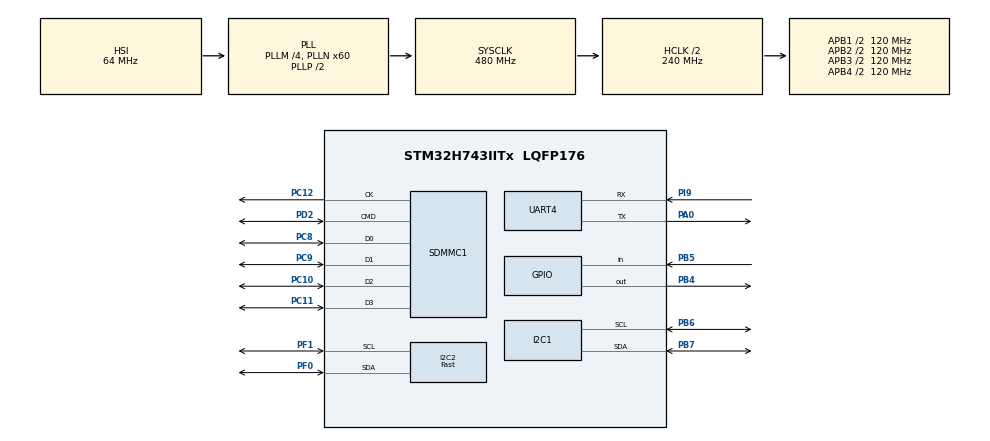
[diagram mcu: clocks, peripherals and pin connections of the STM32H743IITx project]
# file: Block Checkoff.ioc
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FATFS.BSP.number=1
FATFS0.BSP.STBoard=false
FATFS0.BSP.api=Unknown
FATFS0.BSP.i2caddr=0
FATFS0.BSP.instance=PB5
FATFS0.BSP.ip=GPIO
FATFS0.BSP.mode=Input
FATFS0.BSP.name=Detect_SDIO
FATFS0.BSP.solution=PB5
I2C1.Timing=0x307075B1
I2C2.I2C_Speed_Mode=I2C_Fast
I2C2.Timing=0x00B03FDB
JPEG.JPEG_RGB_FORMAT=JPEG_RGB888
Mcu.Family=STM32H7
Mcu.Name=STM32H743IITx
Mcu.Package=LQFP176
NVIC.PriorityGroup=NVIC_PRIORITYGROUP_4
PA0.Mode=Asynchronous
PA0.Signal=UART4_TX
PB4\ (NJTRST).Signal=GPIO_Output
PB5.Signal=GPIO_Input
PB6.Mode=I2C
PB6.Signal=I2C1_SCL
PB7.Mode=I2C
PB7.Signal=I2C1_SDA
PC10.Mode=SD_4_bits_Wide_bus
PC10.Signal=SDMMC1_D2
PC11.Mode=SD_4_bits_Wide_bus
PC11.Signal=SDMMC1_D3
PC12.Mode=SD_4_bits_Wide_bus
PC12.Signal=SDMMC1_CK
PC8.Mode=SD_4_bits_Wide_bus
PC8.Signal=SDMMC1_D0
PC9.Mode=SD_4_bits_Wide_bus
PC9.Signal=SDMMC1_D1
PD2.Mode=SD_4_bits_Wide_bus
PD2.Signal=SDMMC1_CMD
PF0.Mode=I2C
PF0.Signal=I2C2_SDA
PF1.Mode=I2C
PF1.Signal=I2C2_SCL
PI9.Mode=Asynchronous
PI9.Signal=UART4_RX
ProjectManager.HeapSize=0x200
ProjectManager.StackSize=0x400
ProjectManager.TargetToolchain=STM32CubeIDE
RCC.ADCFreq_Value=129000000
RCC.APB1Freq_Value=120000000
RCC.APB2Freq_Value=120000000
RCC.APB3Freq_Value=120000000
RCC.APB4Freq_Value=120000000
RCC.CortexFreq_Value=480000000
RCC.D1PPRE=RCC_APB3_DIV2
RCC.D2PPRE1=RCC_APB1_DIV2
RCC.D2PPRE2=RCC_APB2_DIV2
RCC.D3PPRE=RCC_APB4_DIV2
RCC.DIVM1=4
RCC.DIVN1=60
RCC.HCLKFreq_Value=240000000
RCC.HPRE=RCC_HCLK_DIV2
RCC.PLL2FRACN=0
RCC.PLL3FRACN=0
RCC.PLLFRACN=0
RCC.SYSCLKFreq_VALUE=480000000
RCC.SYSCLKSource=RCC_SYSCLKSOURCE_PLLCLK
RCC.USBFreq_Value=480000000
VP_FATFS_VS_SDIO.Mode=SDIO
VP_JPEG_VS_JPEG.Mode=JPEG_Activate
VP_LIBJPEG_VS_JPEGLIB.Mode=Enabled
board=custom

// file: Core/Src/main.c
/* USER CODE BEGIN Header */
/**
  ******************************************************************************
  * @file           : main.c
  * @brief          : Main program body
  ******************************************************************************
  * @attention
  *
  * <h2><center>&copy; Copyright (c) 2020 STMicroelectronics.
  * All rights reserved.</center></h2>
  *
  * This software component is licensed by ST under BSD 3-Clause license,
  * the "License"; You may not use this file except in compliance with the
  * License. You may obtain a copy of the License at:
  *                        opensource.org/licenses/BSD-3-Clause
  *
  ******************************************************************************
  */
/* USER CODE END Header */

#include "main.h"
#include "fatfs.h"
#include "libjpeg.h"

I2C_HandleTypeDef hi2c1;
I2C_HandleTypeDef hi2c2;

JPEG_HandleTypeDef hjpeg;

SD_HandleTypeDef hsd1;

UART_HandleTypeDef huart4;

/* USER CODE BEGIN PV */

//used for console output
FILE __stdout;

/*
 * -----------------------------CAMERA COMMAND AND ACK HEX ARRAYS---------------------------
 *
 * Below are commands commonly used for interfacing with the camera, globally defined
 * only because of their ubiquity, all commands begin with 0x56 0x00 and all ACKs or returns
 * begin with 0x76 0x00, behavior after is somewhat variable but often the first five characters
 * are relatively predictable between the two going something like...
 * 		COMMAND:	0x56 0x0 0xBB 0x1 0x0
 * 		ACK:		0x76 0x0 0xBB 0x0 0x0
 *
 * 	For some commands or acknowledgements, the listed values will NOT be what you input/receive because
 * 	they depend on values like the image length, addresses, etc. So make sure that you change those areas
 * 	before using the arrays based off of what you need!
 */

// use for camera set-up
uint8_t CAM_RESET[]							=	{0x56, 0x0, 0x26, 0x0};
uint8_t CAM_RESET_ACK[]						=	{0x76, 0x0, 0x26, 0x0};

// use for camera resolution settings
uint8_t CAM_RES_640_480[]					=	{0x56, 0x0, 0x31, 0x05, 0x04, 0x01, 0x0, 0x19, 0x00};
uint8_t CAM_RES_320_240[]					=	{0x56, 0x0, 0x31, 0x05, 0x04, 0x01, 0x0, 0x19, 0x11};
uint8_t CAM_RES_ACK[]						=	{0x76, 0x0, 0x31, 0x0, 0x0};

// use for camera to take a shot
uint8_t CAM_CAPTURE[]						=	{0x56, 0x0, 0x36, 0x1, 0x0};
uint8_t CAM_CAPTURE_ACK[]					= 	{0x76, 0x0, 0x36, 0x0, 0x0};

// use for requesting image length, NOTE: in ACK the final two bytes are not 0xFF but
// are instead the high and low bytes of the length
uint8_t CAM_IMG_LENGTH[]					=	{0x56, 0x0, 0x34, 0x1, 0x0};
uint8_t CAM_IMG_LENGTH_ACK[]				=	{0x76, 0x0, 0x34, 0x0, 0x4, 0x0, 0x0, 0xFF, 0xFF};

/*
 * use these for actually getting the image data, heavy variability here
 *
 * GENERAL JPG NOTES:	all jpgs should start with 0xFF 0xD8 0xFF (unsure still on last 0xFF) and end with 0xFF 0xD9
 *
 * NOTES FOR COMMAND:	the 0xFF 0xFF sequence is actually a start address for the image data, probably default to 0x0 0x0 for future
 * 						the 0xEE 0xEE is actually meant to be image length, pulled from the results of the previous set of commands/acks
 *
 * NOTES FOR ACKS: 		listed in two parts here, the first part is the beginning of the image data and the last part is the end and cleanup
 * 						keep in mind the jpg rules! first part ends with 0xFF 0xD8 and second part starts with 0xFF 0xD9, but these are
 * 						actually parts of the jpg and should also be written to something!
 */
uint8_t CAM_READ_IMG[]						=	{0x56, 0x0, 0x32, 0x0C, 0x0, 0x0D, 0x0, 0x0, 0xFF, 0xFF, 0x0, 0x0, 0xEE, 0xEE, 0x0, 0x0A};
uint8_t CAM_READ_IMG_ACK_1[]				=	{0x76, 0x0, 0x32, 0x0, 0x0, 0xFF, 0xD8};
uint8_t CAM_READ_IMG_ACK_2[]				=	{0xFF, 0xD9, 0x76, 0x0, 0x32, 0x0, 0x0};
/* USER CODE END PV */

void SystemClock_Config(void);
static void MX_GPIO_Init(void);
static void MX_I2C1_Init(void);
static void MX_I2C2_Init(void);
static void MX_JPEG_Init(void);
static void MX_SDMMC1_SD_Init(void);
static void MX_UART4_Init(void);

int main(void)
{

  /* MCU Configuration--------------------------------------------------------*/

  /* Reset of all peripherals, Initializes the Flash interface and the Systick. */
  HAL_Init();

  /* Configure the system clock */
  SystemClock_Config();

  /* Initialize all configured peripherals */
  MX_GPIO_Init();
  MX_I2C1_Init();
  MX_I2C2_Init();
  MX_JPEG_Init();
  MX_SDMMC1_SD_Init();
  MX_UART4_Init();
  MX_FATFS_Init();
  MX_LIBJPEG_Init();
  /* USER CODE BEGIN 2 */

  // call for initial reset state
  uint8_t set_up_ack[4];
  Camera_Setup(set_up_ack);

  //call for 320x240 resolution
  uint8_t res_ack[5];
  Camera_Set_Res(res_ack, 3);

  uint8_t prompt;
  uint8_t count = 0;
  /* USER CODE END 2 */

  /* Infinite loop */
  while (1)
  {
	  if (prompt == 0x0)
		  printf("No I2C comms detected yet.\n");

	  HAL_Delay(50);

	  prompt = 0x0;
	  HAL_I2C_Slave_Receive(&hi2c1, &prompt, 1, HAL_MAX_DELAY);

	  printf("Prompt Value: %d\n", prompt);

	  if (prompt == 0x01) {

		  /*
		   * For now, we assume that all communication works out.
		   * There is no ACK checks for now, simple one would be to
		   * check if the first element is 0x76 as all ACKs involve
		   * that.
		   */

		  count++;
		  printf("I2C comm detected, count at: %d\n", count);

		  // get TOF distance values, 7 for the 7 sensors on the board
		  uint8_t dist_vals[7];
		  get_TOF_Data(dist_vals);

		  // get compass heading for calibration, unsure of exact format
		  uint8_t hdng_cal[1];
		  get_Compass_Data(hdng_cal);

		  /*
		   * Begin process of extracting image, then processing image.
		   *
		   * Many of the below functions have what should be final code, except
		   * for the image processing functions as those are still waiting for
		   * OpenMV adapted collateral.
		   *
		   * Some ACK checks could be added to verify information, but otherwise the
		   * flow of the below code should be mostly finalized.
		   */

		  printf("Taking snapshot...\n");
		  uint8_t snapshot_ack[5];
		  Camera_Snapshot(snapshot_ack);

		  printf("Getting image length...\n");
		  uint8_t length_ack[9];
		  Camera_Get_IMG_Length(length_ack);

		  // indices 7 and 8 of the length_ack should have actual values
		  uint16_t img_length = (uint16_t) length_ack[7]*255 + (uint16_t) length_ack[8];

		  // need to set up for reading image based on length, variable due to compression
		  CAM_READ_IMG[8] = 0x0;				// indices 8 and 9 should have the mem positions
		  CAM_READ_IMG[9] = 0x0;
		  CAM_READ_IMG[12] = length_ack[7];		// indices 12 and 13 should have the high and low byte length
		  CAM_READ_IMG[13] = length_ack[8];
		  uint8_t img_buf_and_ack[9+img_length];

		  printf("Getting image...\n");
		  Camera_Get_IMG(img_buf_and_ack, length_ack[7], length_ack[8], 0x0, 0x0);

		  // create image object for easy access to parameters, copy over jpg img data
		  image_t* cam_img = malloc(sizeof(image_t));
		  cam_img->w = 320;
		  cam_img->h = 240;
		  cam_img->bpp = 3;
		  cam_img->pixels = malloc(img_length*sizeof(uint8_t));
		  for (int i = 0; i < img_length; i++)
			  cam_img->pixels[i] = img_buf_and_ack[5+i];

		  // begin image processing, store into dynamic array of objects
		  obj_t* objects;

		  uint8_t buffer[19];
		  printf("Data collection finished, sending data...");
		  strcpy(buffer, "Message received.\n");
		  HAL_I2C_Slave_Transmit(&hi2c1, buffer, sizeof(buffer)/sizeof(buffer[0]), HAL_MAX_DELAY);
	  }
  }
}

void SystemClock_Config(void)
{
  RCC_OscInitTypeDef RCC_OscInitStruct = {0};
  RCC_ClkInitTypeDef RCC_ClkInitStruct = {0};
  RCC_PeriphCLKInitTypeDef PeriphClkInitStruct = {0};

  /** Supply configuration update enable
  */
  HAL_PWREx_ConfigSupply(PWR_LDO_SUPPLY);
  /** Configure the main internal regulator output voltage
  */
  __HAL_PWR_VOLTAGESCALING_CONFIG(PWR_REGULATOR_VOLTAGE_SCALE0);

  while(!__HAL_PWR_GET_FLAG(PWR_FLAG_VOSRDY)) {}
  /** Initializes the CPU, AHB and APB busses clocks
  */
  RCC_OscInitStruct.OscillatorType = RCC_OSCILLATORTYPE_HSI;
  RCC_OscInitStruct.HSIState = RCC_HSI_DIV1;
  RCC_OscInitStruct.HSICalibrationValue = RCC_HSICALIBRATION_DEFAULT;
  RCC_OscInitStruct.PLL.PLLState = RCC_PLL_ON;
  RCC_OscInitStruct.PLL.PLLSource = RCC_PLLSOURCE_HSI;
  RCC_OscInitStruct.PLL.PLLM = 4;
  RCC_OscInitStruct.PLL.PLLN = 60;
  RCC_OscInitStruct.PLL.PLLP = 2;
  RCC_OscInitStruct.PLL.PLLQ = 2;
  RCC_OscInitStruct.PLL.PLLR = 2;
  RCC_OscInitStruct.PLL.PLLRGE = RCC_PLL1VCIRANGE_3;
  RCC_OscInitStruct.PLL.PLLVCOSEL = RCC_PLL1VCOWIDE;
  RCC_OscInitStruct.PLL.PLLFRACN = 0;
  if (HAL_RCC_OscConfig(&RCC_OscInitStruct) != HAL_OK)
  {
    Error_Handler();
  }
  /** Initializes the CPU, AHB and APB busses clocks
  */
  RCC_ClkInitStruct.ClockType = RCC_CLOCKTYPE_HCLK|RCC_CLOCKTYPE_SYSCLK
                              |RCC_CLOCKTYPE_PCLK1|RCC_CLOCKTYPE_PCLK2
                              |RCC_CLOCKTYPE_D3PCLK1|RCC_CLOCKTYPE_D1PCLK1;
  RCC_ClkInitStruct.SYSCLKSource = RCC_SYSCLKSOURCE_PLLCLK;
  RCC_ClkInitStruct.SYSCLKDivider = RCC_SYSCLK_DIV1;
  RCC_ClkInitStruct.AHBCLKDivider = RCC_HCLK_DIV2;
  RCC_ClkInitStruct.APB3CLKDivider = RCC_APB3_DIV2;
  RCC_ClkInitStruct.APB1CLKDivider = RCC_APB1_DIV2;
  RCC_ClkInitStruct.APB2CLKDivider = RCC_APB2_DIV2;
  RCC_ClkInitStruct.APB4CLKDivider = RCC_APB4_DIV2;

  if (HAL_RCC_ClockConfig(&RCC_ClkInitStruct, FLASH_LATENCY_4) != HAL_OK)
  {
    Error_Handler();
  }
  PeriphClkInitStruct.PeriphClockSelection = RCC_PERIPHCLK_UART4|RCC_PERIPHCLK_SDMMC
                              |RCC_PERIPHCLK_I2C2|RCC_PERIPHCLK_I2C1;
  PeriphClkInitStruct.SdmmcClockSelection = RCC_SDMMCCLKSOURCE_PLL;
  PeriphClkInitStruct.Usart234578ClockSelection = RCC_USART234578CLKSOURCE_D2PCLK1;
  PeriphClkInitStruct.I2c123ClockSelection = RCC_I2C123CLKSOURCE_D2PCLK1;
  if (HAL_RCCEx_PeriphCLKConfig(&PeriphClkInitStruct) != HAL_OK)
  {
    Error_Handler();
  }
}

static void MX_I2C1_Init(void)
{

  hi2c1.Instance = I2C1;
  hi2c1.Init.Timing = 0x307075B1;
  hi2c1.Init.OwnAddress1 = 0x01;
  hi2c1.Init.AddressingMode = I2C_ADDRESSINGMODE_7BIT;
  hi2c1.Init.DualAddressMode = I2C_DUALADDRESS_DISABLE;
  hi2c1.Init.OwnAddress2 = 0;
  hi2c1.Init.OwnAddress2Masks = I2C_OA2_NOMASK;
  hi2c1.Init.GeneralCallMode = I2C_GENERALCALL_DISABLE;
  hi2c1.Init.NoStretchMode = I2C_NOSTRETCH_DISABLE;
  if (HAL_I2C_Init(&hi2c1) != HAL_OK)
  {
    Error_Handler();
  }
  /** Configure Analogue filter
  */
  if (HAL_I2CEx_ConfigAnalogFilter(&hi2c1, I2C_ANALOGFILTER_ENABLE) != HAL_OK)
  {
    Error_Handler();
  }
  /** Configure Digital filter
  */
  if (HAL_I2CEx_ConfigDigitalFilter(&hi2c1, 0) != HAL_OK)
  {
    Error_Handler();
  }

}

static void MX_I2C2_Init(void)
{

  hi2c2.Instance = I2C2;
  hi2c2.Init.Timing = 0x00B03FDB;
  hi2c2.Init.OwnAddress1 = 0x01;
  hi2c2.Init.AddressingMode = I2C_ADDRESSINGMODE_7BIT;
  hi2c2.Init.DualAddressMode = I2C_DUALADDRESS_DISABLE;
  hi2c2.Init.OwnAddress2 = 0;
  hi2c2.Init.OwnAddress2Masks = I2C_OA2_NOMASK;
  hi2c2.Init.GeneralCallMode = I2C_GENERALCALL_DISABLE;
  hi2c2.Init.NoStretchMode = I2C_NOSTRETCH_DISABLE;
  if (HAL_I2C_Init(&hi2c2) != HAL_OK)
  {
    Error_Handler();
  }
  /** Configure Analogue filter
  */
  if (HAL_I2CEx_ConfigAnalogFilter(&hi2c2, I2C_ANALOGFILTER_ENABLE) != HAL_OK)
  {
    Error_Handler();
  }
  /** Configure Digital filter
  */
  if (HAL_I2CEx_ConfigDigitalFilter(&hi2c2, 0) != HAL_OK)
  {
    Error_Handler();
  }

}

static void MX_JPEG_Init(void)
{

  hjpeg.Instance = JPEG;
  if (HAL_JPEG_Init(&hjpeg) != HAL_OK)
  {
    Error_Handler();
  }

}

static void MX_SDMMC1_SD_Init(void)
{

  hsd1.Instance = SDMMC1;
  hsd1.Init.ClockEdge = SDMMC_CLOCK_EDGE_RISING;
  hsd1.Init.ClockPowerSave = SDMMC_CLOCK_POWER_SAVE_DISABLE;
  hsd1.Init.BusWide = SDMMC_BUS_WIDE_4B;
  hsd1.Init.HardwareFlowControl = SDMMC_HARDWARE_FLOW_CONTROL_DISABLE;
  hsd1.Init.ClockDiv = 0;

}

static void MX_UART4_Init(void)
{

  huart4.Instance = UART4;
  huart4.Init.BaudRate = 115200;
  huart4.Init.WordLength = UART_WORDLENGTH_8B;
  huart4.Init.StopBits = UART_STOPBITS_1;
  huart4.Init.Parity = UART_PARITY_NONE;
  huart4.Init.Mode = UART_MODE_TX_RX;
  huart4.Init.HwFlowCtl = UART_HWCONTROL_NONE;
  huart4.Init.OverSampling = UART_OVERSAMPLING_16;
  huart4.Init.OneBitSampling = UART_ONE_BIT_SAMPLE_DISABLE;
  huart4.Init.ClockPrescaler = UART_PRESCALER_DIV1;
  huart4.AdvancedInit.AdvFeatureInit = UART_ADVFEATURE_NO_INIT;
  if (HAL_UART_Init(&huart4) != HAL_OK)
  {
    Error_Handler();
  }
  if (HAL_UARTEx_SetTxFifoThreshold(&huart4, UART_TXFIFO_THRESHOLD_1_8) != HAL_OK)
  {
    Error_Handler();
  }
  if (HAL_UARTEx_SetRxFifoThreshold(&huart4, UART_RXFIFO_THRESHOLD_1_8) != HAL_OK)
  {
    Error_Handler();
  }
  if (HAL_UARTEx_DisableFifoMode(&huart4) != HAL_OK)
  {
    Error_Handler();
  }

}

static void MX_GPIO_Init(void)
{
  GPIO_InitTypeDef GPIO_InitStruct = {0};

  /* GPIO Ports Clock Enable */
  __HAL_RCC_GPIOI_CLK_ENABLE();
  __HAL_RCC_GPIOF_CLK_ENABLE();
  __HAL_RCC_GPIOA_CLK_ENABLE();
  __HAL_RCC_GPIOC_CLK_ENABLE();
  __HAL_RCC_GPIOD_CLK_ENABLE();
  __HAL_RCC_GPIOB_CLK_ENABLE();

  /*Configure GPIO pin Output Level */
  HAL_GPIO_WritePin(GPIOB, GPIO_PIN_4, GPIO_PIN_RESET);

  /*Configure GPIO pin : PB4 */
  GPIO_InitStruct.Pin = GPIO_PIN_4;
  GPIO_InitStruct.Mode = GPIO_MODE_OUTPUT_PP;
  GPIO_InitStruct.Pull = GPIO_NOPULL;
  GPIO_InitStruct.Speed = GPIO_SPEED_FREQ_LOW;
  HAL_GPIO_Init(GPIOB, &GPIO_InitStruct);

  /*Configure GPIO pin : PB5 */
  GPIO_InitStruct.Pin = GPIO_PIN_5;
  GPIO_InitStruct.Mode = GPIO_MODE_INPUT;
  GPIO_InitStruct.Pull = GPIO_NOPULL;
  HAL_GPIO_Init(GPIOB, &GPIO_InitStruct);

}

/* USER CODE BEGIN 4 */

// required set-up process for the camera to function, according to documentation
void Camera_Setup(uint8_t* rec)
{
	HAL_Delay(2500);	//2500 ms delay
	while(!send_UART(CAM_RESET, rec)) {}	//repeats until successful message sent and message received

	printf("%d\n", sizeof(rec)/sizeof(rec[0]));

	for (int i = 0; i < sizeof(rec)/sizeof(rec[0]); i++) {
		if (rec[i] != CAM_RESET_ACK[i]) {
			printf("ACK did not match expected values: %d, %d", rec[i], CAM_RESET_ACK[i]);
		}
	}
}

//orders camera to take snapshot
void Camera_Snapshot(uint8_t* rec) {
	while(!send_UART(CAM_CAPTURE, rec)) {}
}

//returns 2-value array of characters, first is high part of 16-bit length, second is low part
void Camera_Get_IMG_Length(uint8_t* rec) {
	while(!send_UART(CAM_IMG_LENGTH, rec)) {}
}

//records the image into a statically allocated array of the given
void Camera_Get_IMG(uint8_t* rec, uint8_t lengthH, uint8_t lengthL, uint8_t memH, uint8_t memL) {

	CAM_READ_IMG[12] = lengthH;
	CAM_READ_IMG[13] = lengthL;

	CAM_READ_IMG[8] = memH;
	CAM_READ_IMG[9] = memL;

	while(!send_UART(CAM_READ_IMG, rec)) {}

}

//sets the resolution of the image, full resolution likely not needed for crude processing
//0x00 is default for 640x480, to get 320x240 must manually send command, replace 0x00 with 0x11
void Camera_Set_Res(uint8_t* rec, uint8_t res) {

	// for 640x480
	if (res == 6)
		while(!send_UART(CAM_RES_640_480, rec)) {}

	// for 320x240
	else if (res == 3)
		while(!send_UART(CAM_RES_320_240, rec)) {}

// dummy functions to be used as interfaces to other blocks
void get_TOF_Data(uint8_t* buf) {

}

void get_Compass_Data(uint8_t* buf) {

}

// abstracted function for general USART exchange, note that the size of rec should be known beforehand
bool send_UART(uint8_t* comm, uint8_t* rec)
{
	int i = 0;
	while(HAL_UART_Transmit(&huart4, comm, sizeof(comm)/sizeof(comm[0]), HAL_MAX_DELAY) != HAL_OK)
	{
		if (i > 10)
			return false;
		i++;

	}

	i = 0;
	while(HAL_UART_Receive(&huart4, rec, sizeof(rec)/sizeof(rec[0]), HAL_MAX_DELAY) != HAL_OK)
	{
		if (i > 10)
			return false;
		i++;
	}

	return true;
}

/*
 * _write is built for an override of stdio's access to the default weak _write function,
 * used for printf, this implementation with Instrument Trace Macrocell (ITM) writing enables
 * console outputs as long as the Serial Wire Viewer (SWV) configurations are correct
 *
 * NOTES FOR SWV CONFIG:
 * 		- enable SWV ITM Data Console in Windows
 * 		- enable whichever ports necessary, can leave memory as default, check console settings here
 * 		- ensure that debug settings are enabled as such that SWV is enabled, probe is GDB server, and
 * 			clock matches the SYSCLK, not HCLK
 */
int _write(int file, char* out, int len) {
	for (int i = 0; i < len; i++) {
		ITM_SendChar(out[i]);
	}
	return len;
}
/* USER CODE END 4 */

void Error_Handler(void)
{
}

/************************ (C) COPYRIGHT STMicroelectronics *****END OF FILE****/
